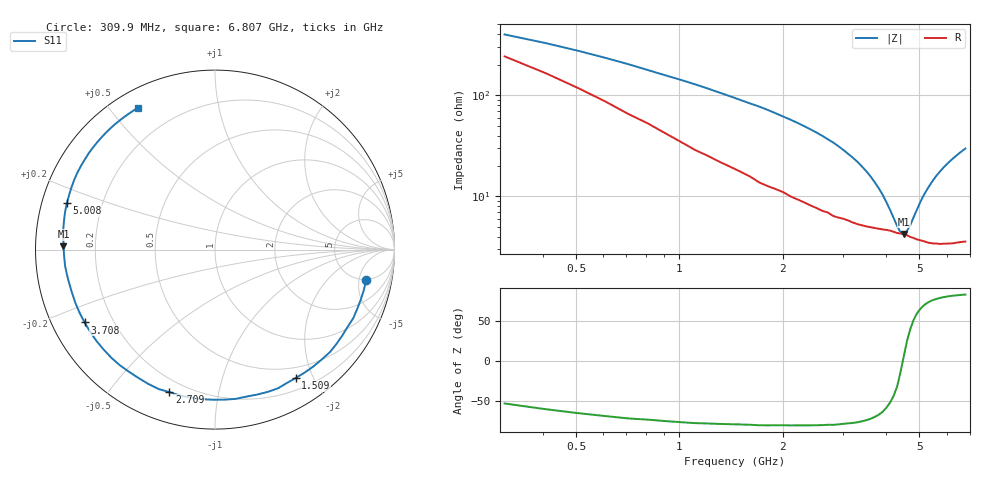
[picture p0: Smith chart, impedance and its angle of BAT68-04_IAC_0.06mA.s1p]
! Infineon Technologies  Discrete & RF Semiconductors
! BAT68-04
! IAC = 0.06 mA
! One-Port S-Parameters
# Hz  S  MA  R  50
!f  S11
!Hz  Mag  Ang
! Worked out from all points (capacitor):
!   66 points, 309.9 MHz to 6.807 GHz, reference 50 ohm
!   read as one part to ground: C = 1.37 pF near 309.9 MHz
!   lowest |Z| = 4.25 ohm at 4.508 GHz (marker M1)
!   series resonance near 4.473 GHz, so ESL is about 930 pH
!   S11 on the Smith chart (normalised r, x): 309.9 MHz: 4.84, -6.33; 1.509 GHz: 0.35, -1.76; 2.709 GHz: 0.14, -0.72; 3.708 GHz: 0.10, -0.26; 5.008 GHz: 0.07, +0.15; 6.807 GHz: 0.07, +0.59
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3.0985e8  0.8595 -11.5
7.0965e8  0.8598 -26.4
1.0095e9  0.857 -38.0
1.2094e9  0.8535 -45.8
1.50925e9  0.8452 -57.9
1.70915e9  0.8488 -65.5
2.009e9  0.8375 -78.1
2.2089e9  0.8378 -86.3
2.4088e9  0.8365 -94.8
2.6087e9  0.8362 -103.3
2.70865e9  0.8334 -107.8
2.8086e9  0.838 -111.9
3.0085e9  0.8327 -120.9
3.2084e9  0.8344 -129.5
3.4083e9  0.8338 -138.1
3.6082e9  0.8329 -146.6
3.70815e9  0.8323 -150.8
4.008e9  0.8322 -163.0
4.2079e9  0.8366 -170.4
4.4078e9  0.8415 -177.7
4.50775e9  0.8444 178.8
4.70765e9  0.8533 172.2
5.0075e9  0.8649 162.5
5.2074e9  0.8719 156.3
5.6072e9  0.8824 145.0
6.007e9  0.8893 135.2
6.30685e9  0.8935 128.6
6.8066e9  0.8992 118.6
